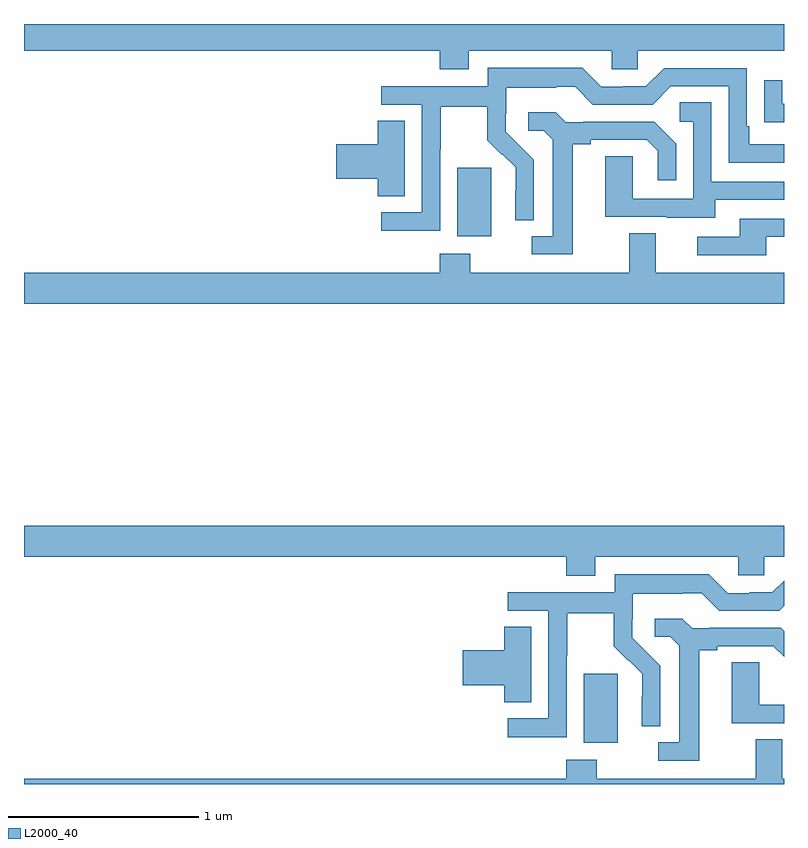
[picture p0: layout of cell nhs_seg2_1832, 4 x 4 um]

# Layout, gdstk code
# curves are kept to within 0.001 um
import gdstk
lib = gdstk.Library(unit=1e-6, precision=1e-09)
def R(c, l, rs):  # rectangles x0, y0, x1, y1
    for r in rs: c.add(gdstk.rectangle(r[:2], r[2:], *l))
def P(c, l, *ps):  # polygons
    for p in ps: c.add(gdstk.Polygon(p, *l))
L2000_40 = (2000, 40)

nhs_seg2_1832 = lib.new_cell('nhs_seg2_1832')
R(nhs_seg2_1832, L2000_40, [(209.945,620.018,210.124,620.379), (209.279,622.682,209.458,623.043)])
P(nhs_seg2_1832, L2000_40, [(209.341,623.66),(210.093,623.66),(210.093,623.562),(210.231,623.562),(210.231,623.66),(211,623.66),(211,623.8),(207,623.8),(207,623.66),(209.189,623.66),(209.189,623.561),(209.341,623.561)],
  [(209.19,623.14),(209.193,623.14),(209.193,623.364),(209.437,623.364),(209.437,623.189),(209.514,623.112),(209.517,623.115),(209.588,623.045),(209.588,622.922),(209.586,622.922),(209.586,622.768),(209.682,622.768),(209.682,623.086),(209.536,623.234),(209.536,623.331),(209.538,623.331),(209.538,623.465),(209.801,623.465),(209.801,623.469),(209.901,623.469),(209.994,623.376),(210.309,623.376),(210.405,623.472),(210.708,623.472),(210.708,623.07),(211,623.07),(211,623.166),(210.817,623.166),(210.817,623.263),(210.804,623.263),(210.804,623.568),(210.369,623.568),(210.273,623.472),(210.155,623.472),(210.155,623.469),(210.039,623.469),(209.939,623.569),(209.442,623.569),(209.442,623.472),(208.881,623.472),(208.881,623.376),(209.094,623.376),(209.094,622.809),(208.881,622.809),(208.881,622.711),(209.19,622.711)],
  [(211,623.379),(210.991,623.379),(210.991,623.503),(210.895,623.503),(210.895,623.284),(210.997,623.284),(210.997,623.283),(211,623.283)],
  [(210.637,622.875),(211,622.875),(211,622.971),(210.618,622.971),(210.618,623.387),(210.45,623.387),(210.45,623.286),(210.522,623.286),(210.522,622.881),(210.204,622.881),(210.204,623.105),(210.059,623.105),(210.059,622.785),(210.383,622.785),(210.383,622.781),(210.637,622.781)],
  [(209.887,623.168),(209.983,623.168),(209.983,623.19),(210.278,623.19),(210.335,623.133),(210.335,622.977),(210.432,622.977),(210.432,623.17),(210.316,623.286),(209.944,623.286),(209.944,623.283),(209.85,623.283),(209.798,623.335),(209.655,623.335),(209.655,623.238),(209.736,623.238),(209.783,623.191),(209.783,622.683),(209.673,622.683),(209.673,622.587),(209.887,622.587)],
  [(209.005,623.291),(208.862,623.291),(208.862,623.168),(208.644,623.168),(208.644,622.985),(208.862,622.985),(208.862,622.894),(209.005,622.894)],
  [(210.907,622.68),(211,622.68),(211,622.776),(210.767,622.776),(210.767,622.68),(210.543,622.68),(210.543,622.584),(210.907,622.584)],
  [(211,622.492),(210.325,622.492),(210.325,622.7),(210.185,622.7),(210.185,622.492),(209.349,622.492),(209.349,622.591),(209.189,622.591),(209.189,622.492),(207,622.492),(207,622.328),(211,622.328)],
  [(210.007,620.996),(210.759,620.996),(210.759,620.898),(210.897,620.898),(210.897,620.996),(211,620.996),(211,621.16),(207,621.16),(207,620.996),(209.855,620.996),(209.855,620.897),(210.007,620.897)],
  [(209.856,620.476),(209.859,620.476),(209.859,620.7),(210.103,620.7),(210.103,620.525),(210.18,620.448),(210.183,620.451),(210.254,620.381),(210.254,620.258),(210.252,620.258),(210.252,620.104),(210.348,620.104),(210.348,620.422),(210.202,620.57),(210.202,620.667),(210.204,620.667),(210.204,620.801),(210.467,620.801),(210.467,620.805),(210.567,620.805),(210.66,620.712),(210.975,620.712),(211,620.737),(211,620.869),(210.939,620.808),(210.821,620.808),(210.821,620.805),(210.705,620.805),(210.605,620.905),(210.108,620.905),(210.108,620.808),(209.547,620.808),(209.547,620.712),(209.76,620.712),(209.76,620.145),(209.547,620.145),(209.547,620.047),(209.856,620.047)],
  [(210.553,620.504),(210.649,620.504),(210.649,620.526),(210.944,620.526),(211,620.47),(211,620.604),(210.982,620.622),(210.61,620.622),(210.61,620.619),(210.516,620.619),(210.464,620.671),(210.321,620.671),(210.321,620.574),(210.402,620.574),(210.449,620.527),(210.449,620.019),(210.339,620.019),(210.339,619.923),(210.553,619.923)],
  [(209.671,620.627),(209.528,620.627),(209.528,620.504),(209.31,620.504),(209.31,620.321),(209.528,620.321),(209.528,620.23),(209.671,620.23)],
  [(211,620.217),(210.87,620.217),(210.87,620.441),(210.725,620.441),(210.725,620.121),(211,620.121)],
  [(211,619.828),(210.991,619.828),(210.991,620.036),(210.851,620.036),(210.851,619.828),(210.015,619.828),(210.015,619.927),(209.855,619.927),(209.855,619.828),(207,619.828),(207,619.8),(211,619.8)])

lib.write_gds('nhs_seg2_1832.gds')
